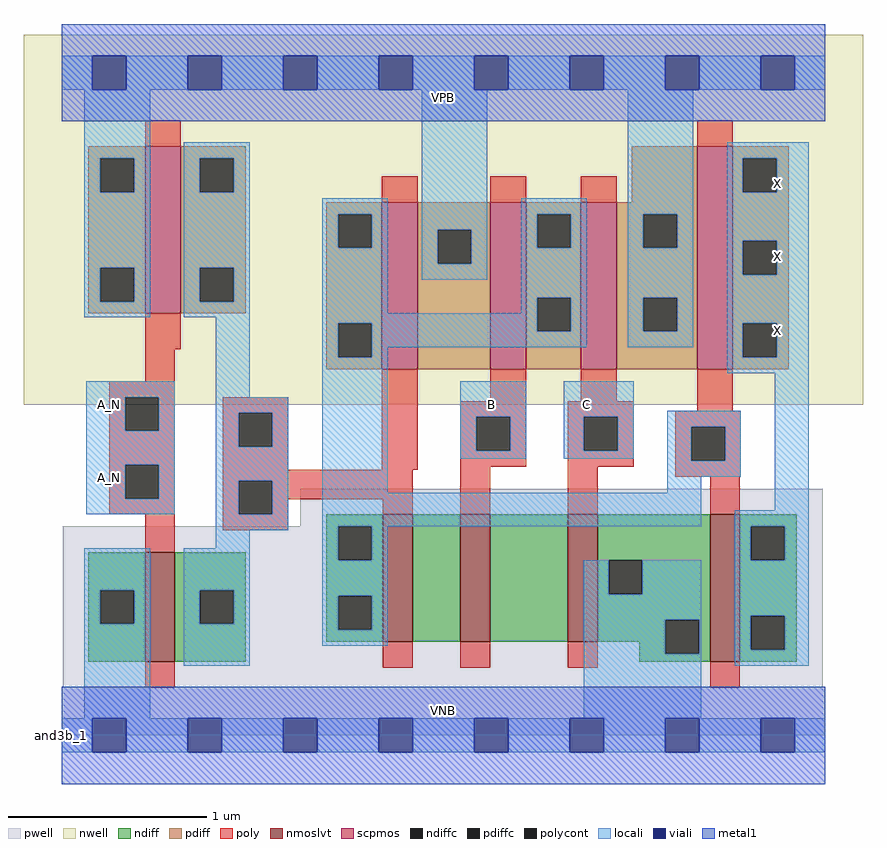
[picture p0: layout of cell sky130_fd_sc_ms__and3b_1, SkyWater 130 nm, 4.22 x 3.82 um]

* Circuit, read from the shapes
.subckt sky130_fd_sc_ms__and3b_1 A_N B C VGND VNB VPB VPWR X
XM1 n1 A_N VGND VNB sky130_fd_pr__nfet_01v8_lvt w=0.55 l=0.15
XM2 n2 n1 n3 VNB sky130_fd_pr__nfet_01v8_lvt w=0.64 l=0.15
XM3 n4 B n2 VNB sky130_fd_pr__nfet_01v8_lvt w=0.64 l=0.15
XM4 VGND C n4 VNB sky130_fd_pr__nfet_01v8_lvt w=0.64 l=0.15
XM5 X n3 VGND VNB sky130_fd_pr__nfet_01v8_lvt w=0.74 l=0.15
XM6 n1 A_N VPWR VPB sky130_fd_pr__pfet_01v8 w=0.84 l=0.18
XM7 VPWR n1 n3 VPB sky130_fd_pr__pfet_01v8 w=0.84 l=0.18
XM8 n3 B VPWR VPB sky130_fd_pr__pfet_01v8 w=0.84 l=0.18
XM9 VPWR C n3 VPB sky130_fd_pr__pfet_01v8 w=0.84 l=0.18
XM10 X n3 VPWR VPB sky130_fd_pr__pfet_01v8 w=1.12 l=0.18
.ends

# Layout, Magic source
magic
tech sky130A
magscale 1 2
<< nwell >>
rect -38 332 806 704
<< pwell >>
rect 240 210 765 248
rect 1 49 765 210
rect 0 0 768 49
<< scpmos >>
rect 84 424 120 592
rect 322 368 358 536
rect 431 368 467 536
rect 522 368 558 536
rect 639 368 675 592
<< nmoslvt >>
rect 84 74 114 184
rect 323 94 353 222
rect 401 94 431 222
rect 509 94 539 222
rect 652 74 682 222
<< ndiff >>
rect 266 210 323 222
rect 27 146 84 184
rect 27 112 39 146
rect 73 112 84 146
rect 27 74 84 112
rect 114 146 185 184
rect 114 112 139 146
rect 173 112 185 146
rect 114 74 185 112
rect 266 176 278 210
rect 312 176 323 210
rect 266 140 323 176
rect 266 106 278 140
rect 312 106 323 140
rect 266 94 323 106
rect 353 94 401 222
rect 431 94 509 222
rect 539 176 652 222
rect 539 142 550 176
rect 584 142 652 176
rect 539 116 652 142
rect 539 94 607 116
rect 581 82 607 94
rect 641 82 652 116
rect 581 74 652 82
rect 682 210 739 222
rect 682 176 693 210
rect 727 176 739 210
rect 682 120 739 176
rect 682 86 693 120
rect 727 86 739 120
rect 682 74 739 86
<< pdiff >>
rect 27 580 84 592
rect 27 546 39 580
rect 73 546 84 580
rect 27 470 84 546
rect 27 436 39 470
rect 73 436 84 470
rect 27 424 84 436
rect 120 580 185 592
rect 120 546 139 580
rect 173 546 185 580
rect 120 470 185 546
rect 573 536 639 592
rect 120 436 139 470
rect 173 436 185 470
rect 120 424 185 436
rect 266 524 322 536
rect 266 490 278 524
rect 312 490 322 524
rect 266 414 322 490
rect 266 380 278 414
rect 312 380 322 414
rect 266 368 322 380
rect 358 508 431 536
rect 358 474 378 508
rect 412 474 431 508
rect 358 368 431 474
rect 467 524 522 536
rect 467 490 478 524
rect 512 490 522 524
rect 467 440 522 490
rect 467 406 478 440
rect 512 406 522 440
rect 467 368 522 406
rect 558 524 639 536
rect 558 490 585 524
rect 619 490 639 524
rect 558 440 639 490
rect 558 406 585 440
rect 619 406 639 440
rect 558 368 639 406
rect 675 580 731 592
rect 675 546 685 580
rect 719 546 731 580
rect 675 497 731 546
rect 675 463 685 497
rect 719 463 731 497
rect 675 414 731 463
rect 675 380 685 414
rect 719 380 731 414
rect 675 368 731 380
<< ndiffc >>
rect 39 112 73 146
rect 139 112 173 146
rect 278 176 312 210
rect 278 106 312 140
rect 550 142 584 176
rect 607 82 641 116
rect 693 176 727 210
rect 693 86 727 120
<< pdiffc >>
rect 39 546 73 580
rect 39 436 73 470
rect 139 546 173 580
rect 139 436 173 470
rect 278 490 312 524
rect 278 380 312 414
rect 378 474 412 508
rect 478 490 512 524
rect 478 406 512 440
rect 585 490 619 524
rect 585 406 619 440
rect 685 546 719 580
rect 685 463 719 497
rect 685 380 719 414
<< poly >>
rect 84 592 120 618
rect 639 592 675 618
rect 322 536 358 562
rect 431 536 467 562
rect 522 536 558 562
rect 84 388 120 424
rect 84 356 114 388
rect 48 340 114 356
rect 48 306 64 340
rect 98 306 114 340
rect 48 272 114 306
rect 48 238 64 272
rect 98 238 114 272
rect 48 222 114 238
rect 84 184 114 222
rect 162 324 228 340
rect 162 290 178 324
rect 212 290 228 324
rect 162 267 228 290
rect 322 267 358 368
rect 431 336 467 368
rect 522 336 558 368
rect 401 320 467 336
rect 401 286 417 320
rect 451 286 467 320
rect 401 270 467 286
rect 509 320 575 336
rect 639 326 675 368
rect 509 286 525 320
rect 559 286 575 320
rect 509 270 575 286
rect 617 310 683 326
rect 617 276 633 310
rect 667 276 683 310
rect 162 256 353 267
rect 162 222 178 256
rect 212 237 353 256
rect 212 222 228 237
rect 323 222 353 237
rect 401 222 431 270
rect 509 222 539 270
rect 617 260 683 276
rect 652 222 682 260
rect 162 206 228 222
rect 84 48 114 74
rect 323 68 353 94
rect 401 68 431 94
rect 509 68 539 94
rect 652 48 682 74
<< polycont >>
rect 64 306 98 340
rect 64 238 98 272
rect 178 290 212 324
rect 417 286 451 320
rect 525 286 559 320
rect 633 276 667 310
rect 178 222 212 256
<< locali >>
rect 0 649 31 683
rect 65 649 127 683
rect 161 649 223 683
rect 257 649 319 683
rect 353 649 415 683
rect 449 649 511 683
rect 545 649 607 683
rect 641 649 703 683
rect 737 649 768 683
rect 23 580 89 649
rect 23 546 39 580
rect 73 546 89 580
rect 23 470 89 546
rect 23 436 39 470
rect 73 436 89 470
rect 23 420 89 436
rect 123 580 189 596
rect 123 546 139 580
rect 173 546 189 580
rect 123 470 189 546
rect 123 436 139 470
rect 173 436 189 470
rect 123 420 189 436
rect 25 340 114 356
rect 25 306 64 340
rect 98 306 114 340
rect 25 272 114 306
rect 25 238 64 272
rect 98 238 114 272
rect 25 222 114 238
rect 155 340 189 420
rect 262 524 328 540
rect 262 490 278 524
rect 312 490 328 524
rect 262 424 328 490
rect 362 508 428 649
rect 362 474 378 508
rect 412 474 428 508
rect 362 458 428 474
rect 462 524 528 540
rect 462 490 478 524
rect 512 490 528 524
rect 462 440 528 490
rect 462 424 478 440
rect 262 414 478 424
rect 262 380 278 414
rect 312 406 478 414
rect 512 406 528 440
rect 312 390 528 406
rect 569 524 635 649
rect 569 490 585 524
rect 619 490 635 524
rect 569 440 635 490
rect 569 406 585 440
rect 619 406 635 440
rect 569 390 635 406
rect 669 580 751 596
rect 669 546 685 580
rect 719 546 751 580
rect 669 497 751 546
rect 669 463 685 497
rect 719 463 751 497
rect 669 414 751 463
rect 312 380 328 390
rect 155 324 228 340
rect 155 290 178 324
rect 212 290 228 324
rect 155 256 228 290
rect 155 222 178 256
rect 212 222 228 256
rect 155 206 228 222
rect 262 244 328 380
rect 669 380 685 414
rect 719 380 751 414
rect 669 364 751 380
rect 401 320 467 356
rect 401 286 417 320
rect 451 286 467 320
rect 401 278 467 286
rect 505 320 575 356
rect 505 286 525 320
rect 559 286 575 320
rect 505 278 575 286
rect 609 310 683 326
rect 609 276 633 310
rect 667 276 683 310
rect 609 260 683 276
rect 609 244 643 260
rect 262 210 643 244
rect 717 226 751 364
rect 677 210 751 226
rect 155 188 189 206
rect 23 146 89 188
rect 23 112 39 146
rect 73 112 89 146
rect 23 17 89 112
rect 123 146 189 188
rect 123 112 139 146
rect 173 112 189 146
rect 123 70 189 112
rect 262 176 278 210
rect 312 176 328 210
rect 677 176 693 210
rect 727 176 751 210
rect 262 140 328 176
rect 262 106 278 140
rect 312 106 328 140
rect 262 90 328 106
rect 525 142 550 176
rect 584 142 643 176
rect 525 116 643 142
rect 525 82 607 116
rect 641 82 643 116
rect 525 17 643 82
rect 677 120 751 176
rect 677 86 693 120
rect 727 86 751 120
rect 677 70 751 86
rect 0 -17 31 17
rect 65 -17 127 17
rect 161 -17 223 17
rect 257 -17 319 17
rect 353 -17 415 17
rect 449 -17 511 17
rect 545 -17 607 17
rect 641 -17 703 17
rect 737 -17 768 17
<< viali >>
rect 31 649 65 683
rect 127 649 161 683
rect 223 649 257 683
rect 319 649 353 683
rect 415 649 449 683
rect 511 649 545 683
rect 607 649 641 683
rect 703 649 737 683
rect 31 -17 65 17
rect 127 -17 161 17
rect 223 -17 257 17
rect 319 -17 353 17
rect 415 -17 449 17
rect 511 -17 545 17
rect 607 -17 641 17
rect 703 -17 737 17
<< metal1 >>
rect 0 683 768 715
rect 0 649 31 683
rect 65 649 127 683
rect 161 649 223 683
rect 257 649 319 683
rect 353 649 415 683
rect 449 649 511 683
rect 545 649 607 683
rect 641 649 703 683
rect 737 649 768 683
rect 0 617 768 649
rect 0 17 768 49
rect 0 -17 31 17
rect 65 -17 127 17
rect 161 -17 223 17
rect 257 -17 319 17
rect 353 -17 415 17
rect 449 -17 511 17
rect 545 -17 607 17
rect 641 -17 703 17
rect 737 -17 768 17
rect 0 -49 768 -17
<< labels >>
flabel pwell s 0 0 768 49 0 FreeSans 200 0 0 0 VNB
port 5 nsew ground bidirectional
flabel nwell s 0 617 768 666 0 FreeSans 200 0 0 0 VPB
port 6 nsew power bidirectional
rlabel comment s 0 0 0 0 4 and3b_1
flabel metal1 s 0 617 768 666 0 FreeSans 340 0 0 0 VPWR
port 7 nsew power bidirectional
flabel metal1 s 0 0 768 49 0 FreeSans 340 0 0 0 VGND
port 4 nsew ground bidirectional
flabel locali s 703 390 737 424 0 FreeSans 340 0 0 0 X
port 8 nsew signal output
flabel locali s 703 464 737 498 0 FreeSans 340 0 0 0 X
port 8 nsew signal output
flabel locali s 703 538 737 572 0 FreeSans 340 0 0 0 X
port 8 nsew signal output
flabel locali s 31 242 65 276 0 FreeSans 340 0 0 0 A_N
port 1 nsew signal input
flabel locali s 31 316 65 350 0 FreeSans 340 0 0 0 A_N
port 1 nsew signal input
flabel locali s 511 316 545 350 0 FreeSans 340 0 0 0 C
port 3 nsew signal input
flabel locali s 415 316 449 350 0 FreeSans 340 0 0 0 B
port 2 nsew signal input
<< properties >>
string LEFsite unit
string LEFclass CORE
string FIXED_BBOX 0 0 768 666
string GDS_FILE $PDKPATH/libs.ref/sky130_fd_sc_ms/gds/sky130_fd_sc_ms.gds
string LEFsymmetry X Y
string GDS_END 3425640
string GDS_START 3418820
<< end >>
